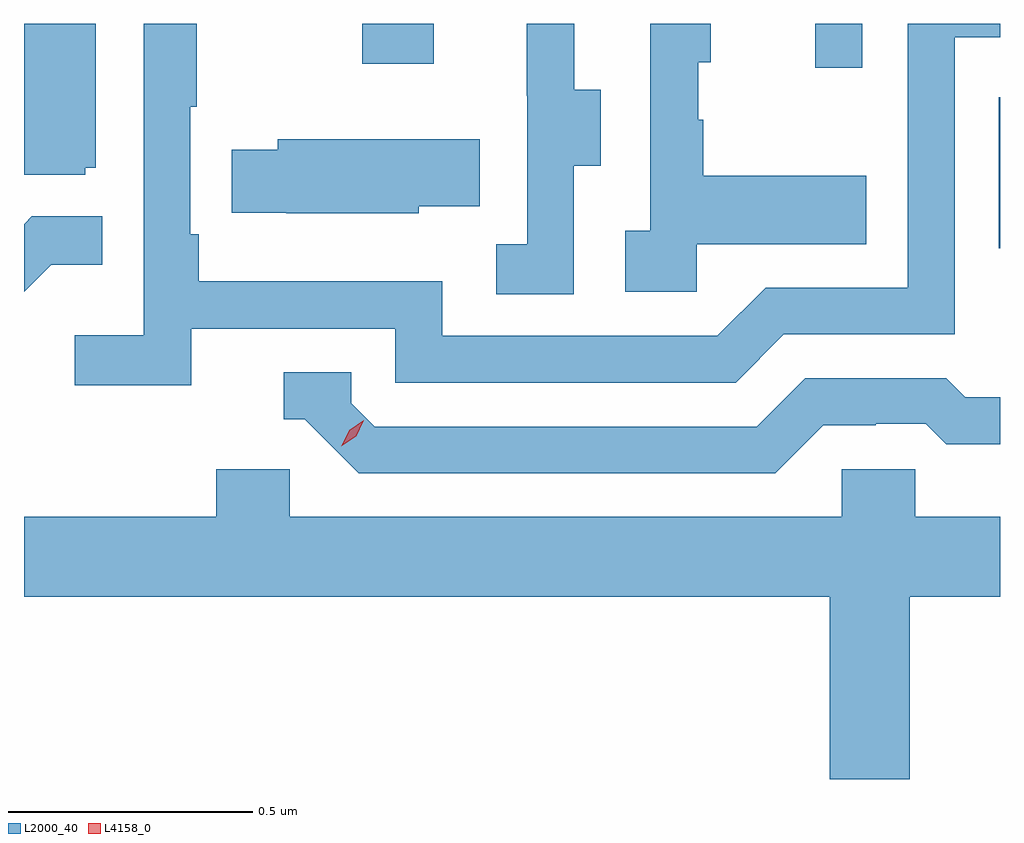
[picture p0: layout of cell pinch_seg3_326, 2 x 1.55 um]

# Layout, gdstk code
import gdstk
lib = gdstk.Library(unit=1e-6, precision=1e-09)
def R(c, l, rs):  # rectangles x0, y0, x1, y1
    for r in rs: c.add(gdstk.rectangle(r[:2], r[2:], *l))
def P(c, l, *ps):  # polygons
    for p in ps: c.add(gdstk.Polygon(p, *l))
L2000_40 = (2000, 40)
L4158_0 = (4158, 0)

pinch_seg3_326 = lib.new_cell('pinch_seg3_326')
R(pinch_seg3_326, L2000_40, [(1016.502,717.615,1016.505,717.924), (1016.126,717.984,1016.223,718.075), (1015.198,717.993,1015.345,718.075)])
P(pinch_seg3_326, L2000_40, [(1015.632,717.784),(1015.687,717.784),(1015.687,717.939),(1015.633,717.939),(1015.633,718.075),(1015.535,718.075),(1015.535,717.927),(1015.536,717.927),(1015.536,717.623),(1015.473,717.623),(1015.473,717.52),(1015.632,717.52)],
  [(1014.63,717.78),(1014.652,717.78),(1014.652,718.075),(1014.505,718.075),(1014.505,717.765),(1014.63,717.765)],
  [(1014.848,717.45),(1015.266,717.45),(1015.266,717.339),(1015.963,717.339),(1016.062,717.438),(1016.412,717.438),(1016.412,718.047),(1016.505,718.047),(1016.505,718.075),(1016.316,718.075),(1016.316,717.534),(1016.025,717.534),(1015.926,717.435),(1015.362,717.435),(1015.362,717.547),(1014.863,717.547),(1014.863,717.643),(1014.846,717.643),(1014.846,717.904),(1014.859,717.904),(1014.859,718.075),(1014.75,718.075),(1014.75,717.436),(1014.609,717.436),(1014.609,717.334),(1014.848,717.334)],
  [(1015.884,717.623),(1016.231,717.623),(1016.231,717.763),(1015.897,717.763),(1015.897,717.878),(1015.887,717.878),(1015.887,717.996),(1015.912,717.996),(1015.912,718.075),(1015.788,718.075),(1015.788,717.65),(1015.737,717.65),(1015.737,717.525),(1015.884,717.525)],
  [(1015.314,717.701),(1015.439,717.701),(1015.439,717.838),(1015.025,717.838),(1015.025,717.816),(1014.931,717.816),(1014.931,717.687),(1015.042,717.687),(1015.042,717.686),(1015.314,717.686)],
  [(1014.561,717.581),(1014.665,717.581),(1014.665,717.68),(1014.521,717.68),(1014.505,717.664),(1014.505,717.525)],
  [(1016.143,717.252),(1016.25,717.252),(1016.25,717.255),(1016.353,717.255),(1016.395,717.213),(1016.505,717.213),(1016.505,717.309),(1016.434,717.309),(1016.395,717.348),(1016.106,717.348),(1016.007,717.249),(1015.224,717.249),(1015.176,717.297),(1015.176,717.36),(1015.037,717.36),(1015.037,717.264),(1015.08,717.264),(1015.191,717.153),(1016.044,717.153)],
  [(1016.32,716.9),(1016.505,716.9),(1016.505,717.064),(1016.331,717.064),(1016.331,717.162),(1016.181,717.162),(1016.181,717.064),(1015.05,717.064),(1015.05,717.162),(1014.899,717.162),(1014.899,717.064),(1014.505,717.064),(1014.505,716.9),(1016.156,716.9),(1016.156,716.526),(1016.32,716.526)])
P(pinch_seg3_326, L4158_0, [(1015.155,717.209),(1015.155,717.209),(1015.171,717.242),(1015.201,717.262),(1015.201,717.262),(1015.201,717.262),(1015.186,717.229),(1015.155,717.209)])

lib.write_gds('pinch_seg3_326.gds')
